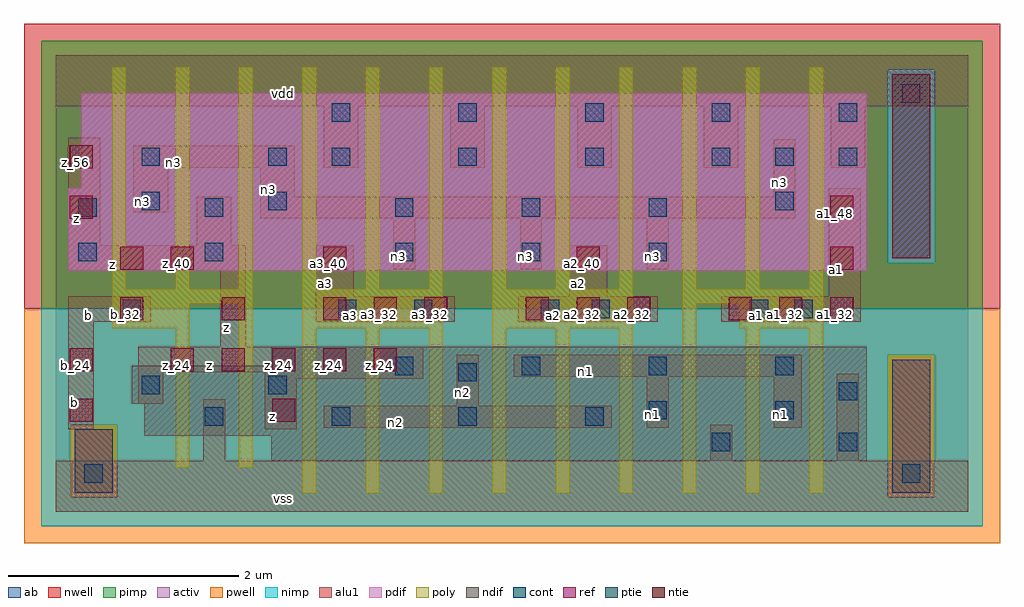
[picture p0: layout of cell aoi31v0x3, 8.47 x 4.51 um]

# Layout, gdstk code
import gdstk
lib = gdstk.Library(unit=1e-6, precision=2.5e-09)
def R(c, l, rs):  # rectangles x0, y0, x1, y1
    for r in rs: c.add(gdstk.rectangle(r[:2], r[2:], *l))
def A(c, l, x, y, w, h, nx, ny, dx, dy):  # array of equal rectangles
    R(c, l, [(x+i*dx, y+j*dy, x+i*dx+w, y+j*dy+h) for i in range(nx) for j in range(ny)])
ndif = (3, 0)
pdif = (4, 0)
ntie = (5, 0)
ptie = (6, 0)
ref = (24, 0)
cont = (25, 0)
pwell = (41, 0)
nwell = (42, 0)
activ = (43, 0)
pimp = (44, 0)
nimp = (45, 0)
poly = (46, 0)
alu1 = (49, 0)
ab = (63, 0)

aoi31v0x3 = lib.new_cell('aoi31v0x3')
R(aoi31v0x3, ndif, [(1.87,0.44,7.04,0.66), (0.77,0.66,7.04,0.935), (0.66,0.935,7.04,1.265), (1.87,1.265,7.04,1.43)])
R(aoi31v0x3, pdif, [(0.11,2.09,7.04,2.805), (0.22,2.805,7.04,3.63)])
R(aoi31v0x3, ntie, [(7.26,2.2,7.59,3.795)])
R(aoi31v0x3, ptie, [(0.165,0.165,0.495,0.715), (7.26,0.165,7.59,1.32)])
A(aoi31v0x3, ref, 1, 1.22, 0.2, 0.2, 5, 1, 0.44, 0)
A(aoi31v0x3, ref, 0.56, 1.66, 0.2, 0.2, 3, 1, 0.88, 0)
A(aoi31v0x3, ref, 4.08, 1.66, 0.2, 0.2, 3, 1, 0.44, 0)
A(aoi31v0x3, ref, 5.84, 1.66, 0.2, 0.2, 3, 1, 0.44, 0)
A(aoi31v0x3, ref, 2.32, 2.1, 0.2, 0.2, 3, 1, 2.2, 0)
R(aoi31v0x3, ref, [(0.12,0.78,0.32,0.98), (1.88,0.78,2.08,0.98), (0.12,1.22,0.32,1.42), (2.76,1.66,2.96,1.86), (3.2,1.66,3.4,1.86), (0.56,2.1,0.76,2.3), (1,2.1,1.2,2.3), (0.12,2.54,0.32,2.74), (6.72,2.54,6.92,2.74), (0.12,2.98,0.32,3.18)])
A(aoi31v0x3, cont, 1.295, 0.745, 0.16, 0.16, 4, 1, 1.1, 0)
A(aoi31v0x3, cont, 2.945, 1.185, 0.16, 0.16, 4, 1, 1.1, 0)
A(aoi31v0x3, cont, 2.945, 2.175, 0.16, 0.16, 3, 2, 1.1, 0.385)
A(aoi31v0x3, cont, 2.395, 3, 0.16, 0.16, 4, 1, 1.1, 0)
A(aoi31v0x3, cont, 2.395, 3.385, 0.16, 0.16, 5, 1, 1.1, 0)
R(aoi31v0x3, cont, [(0.25,0.25,0.41,0.41), (7.345,0.25,7.505,0.41), (5.695,0.525,5.855,0.685), (6.795,0.525,6.955,0.685), (5.145,0.8,5.305,0.96), (6.245,0.8,6.405,0.96), (6.795,0.965,6.955,1.125), (0.745,1.02,0.905,1.18), (1.845,1.02,2.005,1.18), (3.495,1.13,3.655,1.29), (0.58,1.68,0.74,1.84), (2.45,1.68,2.61,1.84), (3.11,1.68,3.27,1.84), (4.21,1.68,4.37,1.84), (4.65,1.68,4.81,1.84), (6.025,1.68,6.185,1.84), (6.41,1.68,6.57,1.84), (0.195,2.175,0.355,2.335), (1.295,2.175,1.455,2.335), (0.195,2.56,0.355,2.72), (1.295,2.56,1.455,2.72), (0.745,2.615,0.905,2.775), (1.845,2.615,2.005,2.775), (6.245,2.615,6.405,2.775), (0.745,3,0.905,3.16), (1.845,3,2.005,3.16), (6.245,3,6.405,3.16), (6.795,3,6.955,3.16), (7.345,3.55,7.505,3.71)])
R(aoi31v0x3, pwell, [(-0.275,-0.275,8.195,1.76)])
R(aoi31v0x3, nwell, [(-0.275,1.76,8.195,4.235)])
R(aoi31v0x3, activ, [(0.165,0.165,0.495,0.715), (7.26,0.165,7.59,1.32), (1.87,0.44,7.04,0.66), (0.77,0.66,7.04,0.935), (0.66,0.935,7.04,1.265), (1.87,1.265,7.04,1.43), (0.11,2.09,7.04,2.805), (7.26,2.2,7.59,3.795), (0.22,2.805,7.04,3.63)])
R(aoi31v0x3, pimp, [(0.125,0.125,0.535,0.755), (7.22,0.125,7.63,1.36), (-0.125,1.76,8.045,2.16), (-0.125,2.16,7.22,3.835), (7.63,2.16,8.045,3.835), (-0.125,3.835,8.045,4.085)])
R(aoi31v0x3, nimp, [(-0.125,-0.125,8.045,0.125), (-0.125,0.125,0.125,0.755), (0.535,0.125,7.22,0.755), (7.63,0.125,8.045,1.36), (-0.125,0.755,7.22,1.36), (-0.125,1.36,8.045,1.76), (7.22,2.16,7.63,3.835)])
A(aoi31v0x3, poly, 2.14, 0.16, 0.12, 1.43, 6, 1, 0.55, 0)
A(aoi31v0x3, poly, 0.49, 1.93, 0.12, 1.925, 12, 1, 0.55, 0)
R(aoi31v0x3, poly, [(5.44,0.16,5.56,1.81), (5.99,0.16,6.11,1.59), (6.54,0.16,6.66,1.59), (1.04,0.38,1.16,1.59), (1.59,0.38,1.71,1.81), (0.49,1.59,1.16,1.81), (2.14,1.59,3.36,1.93), (3.79,1.59,5.01,1.93), (5.935,1.59,6.66,1.81), (0.49,1.81,1.71,1.93), (5.44,1.81,6.66,1.93)])
A(aoi31v0x3, alu1, 2.255, 1.65, 1.21, 0.22, 3, 1, 1.76, 0)
A(aoi31v0x3, alu1, 2.93, 2.105, 0.19, 0.44, 3, 1, 1.1, 0)
A(aoi31v0x3, alu1, 2.325, 2.985, 0.3, 0.535, 5, 1, 1.1, 0)
R(aoi31v0x3, alu1, [(0,0,7.92,0.44), (1.28,0.44,1.47,0.975), (5.68,0.44,5.87,0.755), (6.78,0.44,6.97,1.195), (0.11,0.715,0.33,1.65), (1.815,0.715,2.09,1.155), (2.325,0.73,4.825,0.92), (5.13,0.73,5.32,1.17), (6.23,0.73,6.475,1.17), (3.48,0.92,3.67,1.36), (0.715,0.935,0.935,1.21), (1.815,1.155,3.19,1.21), (3.975,1.17,6.475,1.36), (0.715,1.21,3.19,1.43), (1.43,1.43,1.65,2.09), (0.11,1.65,0.825,1.87), (2.255,1.87,2.585,2.31), (4.455,1.87,4.785,2.31), (6.71,1.87,6.985,2.805), (0.11,2.09,1.65,2.31), (0.11,2.31,0.385,3.245), (1.225,2.31,1.525,2.735), (1.775,2.545,6.42,2.735), (0.675,2.6,0.975,2.985), (1.775,2.735,2.075,2.985), (6.23,2.735,6.42,3.23), (0.675,2.985,2.075,3.175), (0,3.52,7.92,3.96)])
R(aoi31v0x3, ab, [(0,0,7.92,3.96)])
aoi31v0x3.add(gdstk.Label('vss', (1.98,0.11), layer=49, texttype=0))
aoi31v0x3.add(gdstk.Label('n1', (6.29,0.84), layer=49, texttype=0))
aoi31v0x3.add(gdstk.Label('n1', (5.1775,0.84), layer=49, texttype=0))
aoi31v0x3.add(gdstk.Label('n2', (2.95,0.7775), layer=49, texttype=0))
aoi31v0x3.add(gdstk.Label('n1', (4.6,1.2175), layer=49, texttype=0))
aoi31v0x3.add(gdstk.Label('n2', (3.5275,1.03), layer=49, texttype=0))
aoi31v0x3.add(gdstk.Label('z', (1.8825,0.825), layer=49, texttype=0))
aoi31v0x3.add(gdstk.Label('z', (1.3325,1.265), layer=49, texttype=0))
aoi31v0x3.add(gdstk.Label('a1', (6.0775,1.705), layer=49, texttype=0))
aoi31v0x3.add(gdstk.Label('a2', (4.3175,1.705), layer=49, texttype=0))
aoi31v0x3.add(gdstk.Label('a3', (2.5575,1.705), layer=49, texttype=0))
aoi31v0x3.add(gdstk.Label('a1', (6.7775,2.1025), layer=49, texttype=0))
aoi31v0x3.add(gdstk.Label('n3', (5.1775,2.215), layer=49, texttype=0))
aoi31v0x3.add(gdstk.Label('a2', (4.5375,1.98), layer=49, texttype=0))
aoi31v0x3.add(gdstk.Label('n3', (4.0775,2.215), layer=49, texttype=0))
aoi31v0x3.add(gdstk.Label('n3', (2.9775,2.215), layer=49, texttype=0))
aoi31v0x3.add(gdstk.Label('a3', (2.3375,1.98), layer=49, texttype=0))
aoi31v0x3.add(gdstk.Label('z', (1.485,1.595), layer=49, texttype=0))
aoi31v0x3.add(gdstk.Label('b', (0.165,0.9475), layer=49, texttype=0))
aoi31v0x3.add(gdstk.Label('b', (0.2875,1.705), layer=49, texttype=0))
aoi31v0x3.add(gdstk.Label('z', (0.495,2.145), layer=49, texttype=0))
aoi31v0x3.add(gdstk.Label('n3', (6.2775,2.8575), layer=49, texttype=0))
aoi31v0x3.add(gdstk.Label('n3', (1.85,2.7975), layer=49, texttype=0))
aoi31v0x3.add(gdstk.Label('n3', (0.75,2.695), layer=49, texttype=0))
aoi31v0x3.add(gdstk.Label('n3', (1.025,3.0325), layer=49, texttype=0))
aoi31v0x3.add(gdstk.Label('z', (0.1775,2.5425), layer=49, texttype=0))
aoi31v0x3.add(gdstk.Label('vdd', (1.98,3.63), layer=49, texttype=0))
aoi31v0x3.add(gdstk.Label('a1_32', (6.77,1.71), layer=24, texttype=0))
aoi31v0x3.add(gdstk.Label('a2_32', (5.01,1.71), layer=24, texttype=0))
aoi31v0x3.add(gdstk.Label('a2_40', (4.57,2.15), layer=24, texttype=0))
aoi31v0x3.add(gdstk.Label('a2_32', (4.57,1.71), layer=24, texttype=0))
aoi31v0x3.add(gdstk.Label('a2_32', (4.13,1.71), layer=24, texttype=0))
aoi31v0x3.add(gdstk.Label('a3_32', (3.25,1.71), layer=24, texttype=0))
aoi31v0x3.add(gdstk.Label('a3_32', (2.81,1.71), layer=24, texttype=0))
aoi31v0x3.add(gdstk.Label('z_24', (2.81,1.27), layer=24, texttype=0))
aoi31v0x3.add(gdstk.Label('a3_40', (2.37,2.15), layer=24, texttype=0))
aoi31v0x3.add(gdstk.Label('a3_32', (2.37,1.71), layer=24, texttype=0))
aoi31v0x3.add(gdstk.Label('z_24', (2.37,1.27), layer=24, texttype=0))
aoi31v0x3.add(gdstk.Label('z_56', (0.17,3.03), layer=24, texttype=0))
aoi31v0x3.add(gdstk.Label('z_48', (0.17,2.59), layer=24, texttype=0))
aoi31v0x3.add(gdstk.Label('b_24', (0.17,1.27), layer=24, texttype=0))
aoi31v0x3.add(gdstk.Label('b_16', (0.17,0.83), layer=24, texttype=0))
aoi31v0x3.add(gdstk.Label('z_24', (1.93,1.27), layer=24, texttype=0))
aoi31v0x3.add(gdstk.Label('z_16', (1.93,0.83), layer=24, texttype=0))
aoi31v0x3.add(gdstk.Label('z_32', (1.49,1.71), layer=24, texttype=0))
aoi31v0x3.add(gdstk.Label('z_24', (1.49,1.27), layer=24, texttype=0))
aoi31v0x3.add(gdstk.Label('z_40', (1.05,2.15), layer=24, texttype=0))
aoi31v0x3.add(gdstk.Label('z_24', (1.05,1.27), layer=24, texttype=0))
aoi31v0x3.add(gdstk.Label('a1_48', (6.77,2.59), layer=24, texttype=0))
aoi31v0x3.add(gdstk.Label('a1_40', (6.77,2.15), layer=24, texttype=0))
aoi31v0x3.add(gdstk.Label('z_40', (0.61,2.15), layer=24, texttype=0))
aoi31v0x3.add(gdstk.Label('b_32', (0.61,1.71), layer=24, texttype=0))
aoi31v0x3.add(gdstk.Label('a1_32', (6.33,1.71), layer=24, texttype=0))
aoi31v0x3.add(gdstk.Label('a1_32', (5.89,1.71), layer=24, texttype=0))

lib.write_gds('aoi31v0x3.gds')
